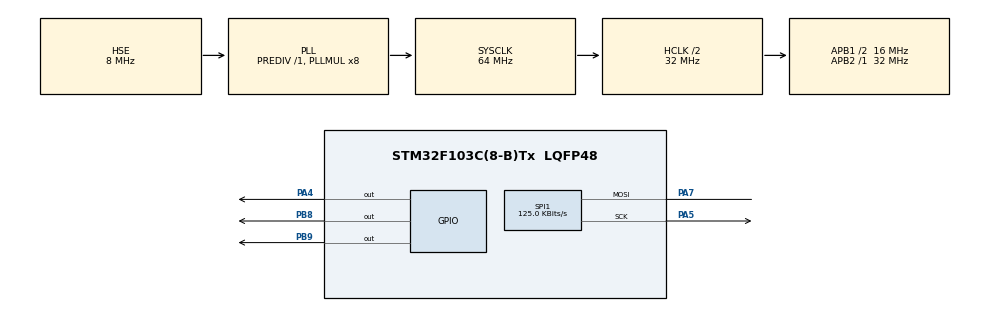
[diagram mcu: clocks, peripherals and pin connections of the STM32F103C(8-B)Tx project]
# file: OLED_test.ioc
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Mcu.Family=STM32F1
Mcu.Name=STM32F103C(8-B)Tx
Mcu.Package=LQFP48
NVIC.PriorityGroup=NVIC_PRIORITYGROUP_4
PA13.Mode=Serial_Wire
PA13.Signal=SYS_JTMS-SWDIO
PA14.Mode=Serial_Wire
PA14.Signal=SYS_JTCK-SWCLK
PA4.PinState=GPIO_PIN_SET
PA4.Signal=GPIO_Output
PA5.Mode=Simplex_Bidirectional_Master
PA5.Signal=SPI1_SCK
PA7.Mode=Simplex_Bidirectional_Master
PA7.Signal=SPI1_MOSI
PB8.GPIO_ModeDefaultOutputPP=GPIO_MODE_OUTPUT_OD
PB8.GPIO_PuPd=GPIO_NOPULL
PB8.GPIO_Speed=GPIO_SPEED_FREQ_HIGH
PB8.Signal=GPIO_Output
PB9.GPIO_ModeDefaultOutputPP=GPIO_MODE_OUTPUT_OD
PB9.GPIO_PuPd=GPIO_NOPULL
PB9.GPIO_Speed=GPIO_SPEED_FREQ_HIGH
PB9.Signal=GPIO_Output
PD0-OSC_IN.Mode=HSE-External-Oscillator
PD0-OSC_IN.Signal=RCC_OSC_IN
PD1-OSC_OUT.Mode=HSE-External-Oscillator
PD1-OSC_OUT.Signal=RCC_OSC_OUT
ProjectManager.HeapSize=0x200
ProjectManager.StackSize=0x400
ProjectManager.TargetToolchain=CMake
RCC.AHBCLKDivider=RCC_SYSCLK_DIV2
RCC.AHBFreq_Value=32000000
RCC.APB1CLKDivider=RCC_HCLK_DIV2
RCC.APB1Freq_Value=16000000
RCC.APB1TimFreq_Value=32000000
RCC.APB2Freq_Value=32000000
RCC.APB2TimFreq_Value=32000000
RCC.HCLKFreq_Value=32000000
RCC.PLLMUL=RCC_PLL_MUL8
RCC.PLLSourceVirtual=RCC_PLLSOURCE_HSE
RCC.SYSCLKFreq_VALUE=64000000
RCC.SYSCLKSource=RCC_SYSCLKSOURCE_PLLCLK
RCC.USBFreq_Value=64000000
SPI1.BaudRatePrescaler=SPI_BAUDRATEPRESCALER_256
SPI1.CLKPhase=SPI_PHASE_2EDGE
SPI1.CalculateBaudRate=125.0 KBits/s
SPI1.DataSize=SPI_DATASIZE_8BIT
SPI1.Direction=SPI_DIRECTION_1LINE
SPI1.Mode=SPI_MODE_MASTER
SPI1.VirtualType=VM_MASTER
board=custom

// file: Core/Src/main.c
/* USER CODE BEGIN Header */
/**
  ******************************************************************************
  * @file           : main.c
  * @brief          : Main program body
  ******************************************************************************
  * @attention
  *
  * Copyright (c) 2025 STMicroelectronics.
  * All rights reserved.
  *
  * This software is licensed under terms that can be found in the LICENSE file
  * in the root directory of this software component.
  * If no LICENSE file comes with this software, it is provided AS-IS.
  *
  ******************************************************************************
  */
/* USER CODE END Header */
#include "main.h"
#include "spi.h"
#include "gpio.h"

/* USER CODE BEGIN Includes */
#include "OLED.h"
#include "TLE5012B.h"
/* USER CODE END Includes */

void SystemClock_Config(void);

int main(void)
{

  /* MCU Configuration--------------------------------------------------------*/

  /* Reset of all peripherals, Initializes the Flash interface and the Systick. */
  HAL_Init();

  /* Configure the system clock */
  SystemClock_Config();

  /* Initialize all configured peripherals */
  MX_GPIO_Init();
  MX_SPI1_Init();
  /* USER CODE BEGIN 2 */
  OLED_Init();         // 初始化OLED
  OLED_Clear();        // 清空显示
  TLE5012B_Init();     // 初始化TLE5012B传感器
  /* USER CODE END 2 */

  /* Infinite loop */
  /* USER CODE BEGIN WHILE */
  float angle = 0.0f;
  float last_angle = 0.0f;
  float angle_diff = 0.0f;
  uint16_t status;
  int16_t speed = 0;

  // 显示启动信息

  while (1)
  {
    /* USER CODE END WHILE */

    /* USER CODE BEGIN 3 */

    // 读取TLE5012B角度数据
    angle = TLE5012B_ReadAngle();
    speed = TLE5012B_ReadSpeed();
    // 第2行：当前角度值 (整数部分)
    OLED_ShowString(2, 1, "Angle:");
    OLED_ShowNum(2, 8, (int32_t)angle, 3);

    if (speed >= 0) {
            OLED_ShowNum(4, 5, speed, 5);
        } else {
            OLED_ShowNum(4, 6, -speed, 4);
        }

    // 第3行：角度小数部分

    // 更新上次角度值
    last_angle = angle;

    // 调试信息：如果有错误，显示错误计数
    // 延时更新

  }
  /* USER CODE END 3 */
}

void SystemClock_Config(void)
{
  RCC_OscInitTypeDef RCC_OscInitStruct = {0};
  RCC_ClkInitTypeDef RCC_ClkInitStruct = {0};

  /** Initializes the RCC Oscillators according to the specified parameters
  * in the RCC_OscInitTypeDef structure.
  */
  RCC_OscInitStruct.OscillatorType = RCC_OSCILLATORTYPE_HSE;
  RCC_OscInitStruct.HSEState = RCC_HSE_ON;
  RCC_OscInitStruct.HSEPredivValue = RCC_HSE_PREDIV_DIV1;
  RCC_OscInitStruct.HSIState = RCC_HSI_ON;
  RCC_OscInitStruct.PLL.PLLState = RCC_PLL_ON;
  RCC_OscInitStruct.PLL.PLLSource = RCC_PLLSOURCE_HSE;
  RCC_OscInitStruct.PLL.PLLMUL = RCC_PLL_MUL8;
  if (HAL_RCC_OscConfig(&RCC_OscInitStruct) != HAL_OK)
  {
    Error_Handler();
  }

  /** Initializes the CPU, AHB and APB buses clocks
  */
  RCC_ClkInitStruct.ClockType = RCC_CLOCKTYPE_HCLK|RCC_CLOCKTYPE_SYSCLK
                              |RCC_CLOCKTYPE_PCLK1|RCC_CLOCKTYPE_PCLK2;
  RCC_ClkInitStruct.SYSCLKSource = RCC_SYSCLKSOURCE_PLLCLK;
  RCC_ClkInitStruct.AHBCLKDivider = RCC_SYSCLK_DIV2;
  RCC_ClkInitStruct.APB1CLKDivider = RCC_HCLK_DIV2;
  RCC_ClkInitStruct.APB2CLKDivider = RCC_HCLK_DIV1;

  if (HAL_RCC_ClockConfig(&RCC_ClkInitStruct, FLASH_LATENCY_2) != HAL_OK)
  {
    Error_Handler();
  }
}

void Error_Handler(void)
{
  __disable_irq();
  while (1)
  {
  }
}
